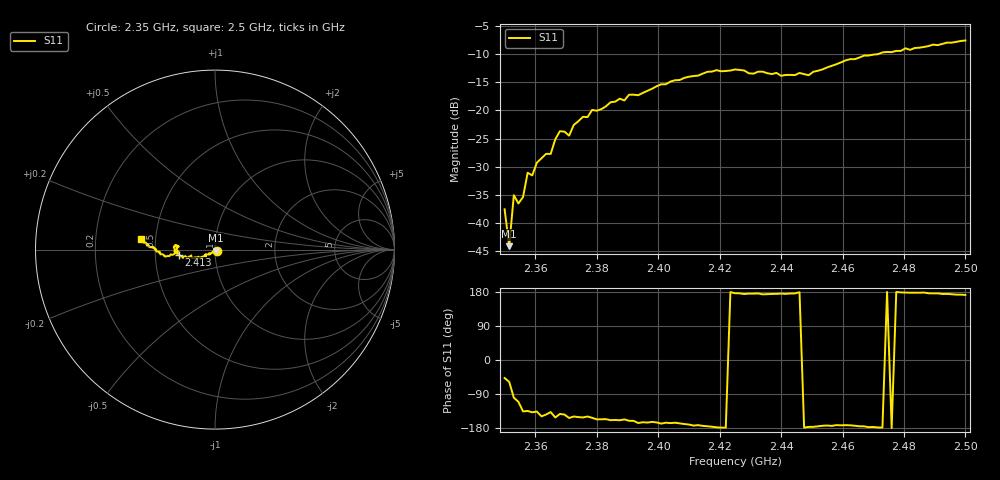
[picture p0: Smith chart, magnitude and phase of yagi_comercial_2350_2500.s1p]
! yagi_comercial_2350_2500
! NanoVNA, 2026-10-31T13:29:01
# HZ S RI R 50
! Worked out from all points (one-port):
!   101 points, 2.35 GHz to 2.5 GHz, reference 50 ohm
!   lowest |S11| = -44.1 dB at 2.352 GHz (marker M1), VSWR 1.01, Z = 50.3 - j0.533 ohm
!   |S11| at or under -10 dB: start of sweep to 2.472 GHz
!   S11 on the Smith chart (normalised r, x): 2.35 GHz: 1.02, -0.02; 2.413 GHz: 0.66, -0.04; 2.5 GHz: 0.41, +0.06
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2.35e9  0.00896 -0.00981
2.3515e9  0.00334 -0.0053
2.353e9  -0.00289 -0.0175
2.3545e9  -0.00523 -0.014
2.356e9  -0.0122 -0.012
2.3575e9  -0.0196 -0.02
2.359e9  -0.0197 -0.0178
2.3605e9  -0.0248 -0.0239
2.365e9  -0.0303 -0.0278
2.3665e9  -0.0488 -0.0263
2.368e9  -0.0517 -0.04
2.3695e9  -0.0524 -0.038
2.371e9  -0.0532 -0.027
2.3725e9  -0.0637 -0.0381
2.377e9  -0.0748 -0.0447
2.3785e9  -0.0896 -0.0465
2.3875e9  -0.1185 -0.0455
2.389e9  -0.1125 -0.0482
2.3905e9  -0.1296 -0.0462
2.3935e9  -0.1324 -0.0322
2.407e9  -0.1812 -0.041
2.413e9  -0.2013 -0.0283
2.425e9  -0.2298 0.0152
2.4445e9  -0.2048 0.0157
2.449e9  -0.2045 -0.0123
2.4625e9  -0.2819 -0.0378
2.482e9  -0.3432 0.0142
2.5e9  -0.412 0.0599
